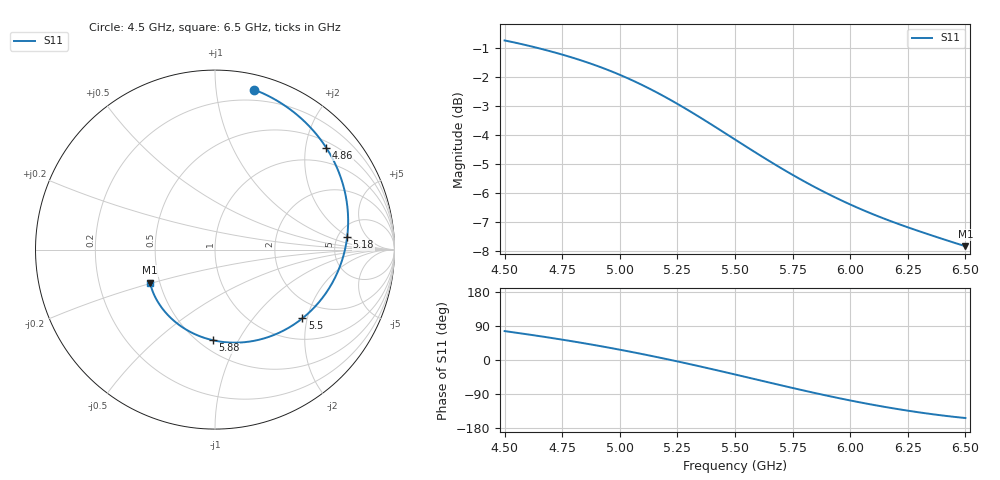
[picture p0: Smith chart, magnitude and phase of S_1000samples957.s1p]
! TOUCHSTONE file generated by CST MICROWAVE STUDIO
! Date and time: Sat Oct 29 22:17:16 2022
! Project name: L.cst
! Parameters = {Di=1.27; Epsilon_r=1.56; InnerDiameter=1.27; Length=2; Lf=10; Lg=60; OuterConductorThickness=0.2921; OuterDiameter=3.6; Wf=3; Wp=41.2; de=1.5; df=6.8; g=0.8; gx=1.09839; gy=1.89179; h=2.34; hf=1.524; px=9.00772; py=8.52343; w=9.7; wx=7.90933; wy=6.63164}
! Header version: 2018
! Port assignment regex: !\s*Touchstone port\s*([0-9]+)\s*=\s*(CST MWS port|CST DS port)\s*([0-9]+|Zmin|Zmax)\s*\(\"(.*)\"\)(\s*mode\s*([0-9]+))?.*
! Touchstone port assignment:
! Touchstone port 1 = CST MWS port 1 ("")
# GHz S DB R 50
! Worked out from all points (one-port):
!   101 points, 4.5 GHz to 6.5 GHz, reference 50 ohm
!   lowest |S11| = -7.8 dB at 6.5 GHz (marker M1), VSWR 2.37, Z = 22.1 - j9.72 ohm
!   |S11| at or under -10 dB: nowhere
!   S11 on the Smith chart (normalised r, x): 4.5 GHz: 0.11, +1.27; 4.86 GHz: 0.63, +2.43; 5.18 GHz: 6.10, +1.85; 5.5 GHz: 1.50, -1.87; 5.88 GHz: 0.58, -0.79; 6.5 GHz: 0.44, -0.19
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4.5  -0.75 76.3
4.56  -0.85 71.1
4.64  -1.00 64.0
4.7  -1.12 58.5
4.76  -1.26 52.7
4.86  -1.51 42.6
4.94  -1.74 34.0
5  -1.93 27.2
5.06  -2.14 20.2
5.1  -2.29 15.3
5.18  -2.62 5.3
5.26  -2.98 -5.1
5.32  -3.26 -13.1
5.38  -3.56 -21.3
5.44  -3.86 -29.7
5.5  -4.16 -38.2
5.56  -4.46 -46.8
5.62  -4.76 -55.4
5.68  -5.05 -63.9
5.76  -5.42 -75.2
5.82  -5.69 -83.5
5.88  -5.94 -91.5
6  -6.40 -106.7
6.12  -6.80 -120.5
6.18  -6.98 -126.9
6.26  -7.21 -134.6
6.38  -7.53 -144.9
6.5  -7.83 -153.1
